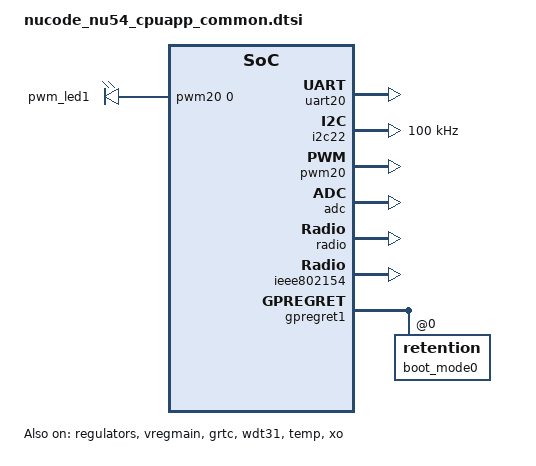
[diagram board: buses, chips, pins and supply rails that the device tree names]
/*
 * Copyright (c) 2024 Nordic Semiconductor ASA
 * Copyright (c) 2026 NUCODE Co., Ltd.
 * SPDX-License-Identifier: Apache-2.0
 */

#include "nucode_nu54_common.dtsi"
#include <zephyr/dt-bindings/pwm/pwm.h>

/ {
	chosen {
		zephyr,console = &uart20;
		zephyr,shell-uart = &uart20;
		zephyr,uart-mcumgr = &uart20;
		zephyr,bt-mon-uart = &uart20;
		zephyr,bt-c2h-uart = &uart20;
		zephyr,flash-controller = &rram_controller;
		zephyr,flash = &cpuapp_rram;
		zephyr,ieee802154 = &ieee802154;
		zephyr,boot-mode = &boot_mode0;
	};

	aliases {
		mcuboot-button0 = &button0;
		mcuboot-led0 = &led0;
		pwm-led0 = &pwm_led1;
		watchdog0 = &wdt31;
	};

	pwmleds {
		compatible = "pwm-leds";

		pwm_led1: pwm_led_1 {
			pwms = <&pwm20 0 PWM_MSEC(20) PWM_POLARITY_NORMAL>;
		};
	};
};

&cpuapp_sram {
	status = "okay";
};

/* These oscillator settings follow NUCODE's current board files. */
&lfxo {
	load-capacitors = "internal";
	load-capacitance-femtofarad = <17000>;
};

&hfxo {
	load-capacitors = "internal";
	load-capacitance-femtofarad = <15000>;
};

&regulators {
	status = "okay";
};

&vregmain {
	status = "okay";
	regulator-initial-mode = <NRF5X_REG_MODE_DCDC>;
};

&grtc {
	owned-channels = <0 1 2 3 4 5 6 7 8 9 10 11>;
	/* Channels 7-11 are reserved for zero-latency IRQs, 3-4 for FLPR. */
	child-owned-channels = <3 4 7 8 9 10 11>;
	status = "okay";
};

&uart20 {
	status = "okay";
};

&i2c22 {
	status = "okay";
	clock-frequency = <100000>;
	pinctrl-0 = <&i2c22_default>;
	pinctrl-1 = <&i2c22_sleep>;
	pinctrl-names = "default", "sleep";
};

&pwm20 {
	status = "okay";
	pinctrl-0 = <&pwm20_default>;
	pinctrl-1 = <&pwm20_sleep>;
	pinctrl-names = "default", "sleep";
};

&wdt31 {
	status = "okay";
};

&adc {
	status = "okay";
};

&gpio0 {
	status = "okay";
};

&gpio1 {
	status = "okay";
};

&gpio2 {
	status = "okay";
};

&gpiote20 {
	status = "okay";
};

&gpiote30 {
	status = "okay";
};

&radio {
	status = "okay";
};

&ieee802154 {
	status = "okay";
};

&temp {
	status = "okay";
};

&clock {
	status = "okay";
};

&xo {
	status = "okay";
};

&lfclk {
	status = "okay";
};

&nfct {
	status = "disabled";
};

&gpregret1 {
	status = "okay";

	boot_mode0: boot_mode@0 {
		compatible = "zephyr,retention";
		status = "okay";
		reg = <0x0 0x1>;
	};
};
